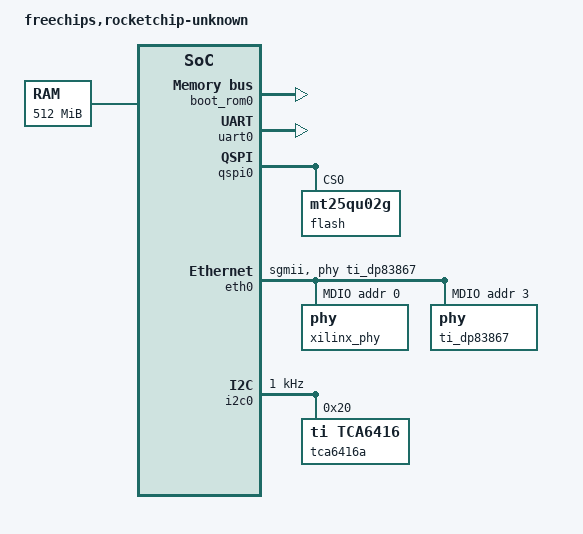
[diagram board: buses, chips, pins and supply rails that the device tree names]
/dts-v1/;

#include <dt-bindings/gpio/gpio.h>

/ {
	#address-cells = <1>;
	#size-cells = <1>;
	compatible = "freechips,rocketchip-unknown-dev";
	model = "freechips,rocketchip-unknown";

	chosen {
		bootargs = "console=ttyS0,115200 earlyprintk";
		stdout-path = "serial0:115200n8";
	};

	aliases {
		serial0 = &uart0;
		spi0 = &qspi0;
		eth0 = &eth0;
		i2c0 = &i2c0;
	};

	cpus {
		#address-cells = <1>;
		#size-cells = <0>;
		cpu0: cpu@0 {
			clock-frequency = <50000000>;
			compatible = "sifive,rocket0", "riscv";
			d-cache-block-size = <64>;
			d-cache-sets = <64>;
			d-cache-size = <16384>;
			d-tlb-sets = <1>;
			d-tlb-size = <32>;
			device_type = "cpu";
			hardware-exec-breakpoint-count = <1>;
			i-cache-block-size = <64>;
			i-cache-sets = <64>;
			i-cache-size = <16384>;
			i-tlb-sets = <1>;
			i-tlb-size = <32>;
			mmu-type = "riscv,sv39";
			next-level-cache = <&ram0>;
			reg = <0x0>;
			riscv,isa = "rv64imafdcZicsr_Zifencei_Zihpm_Zba_Zbb_Zbc_Zbkb_Zbkc_Zbkx_Zbs_Zknd_Zkne_Zknh_Zksed_Zksh_Xrocket";
			riscv,pmpgranularity = <4>;
			riscv,pmpregions = <8>;
			status = "okay";
			timebase-frequency = <1000000>;
			tlb-split;
			cpu0_intc: interrupt-controller {
				#interrupt-cells = <1>;
				compatible = "riscv,cpu-intc";
				interrupt-controller;
			};
		};
		cpu1: cpu@1 {
			clock-frequency = <50000000>;
			compatible = "sifive,rocket0", "riscv";
			d-cache-block-size = <64>;
			d-cache-sets = <64>;
			d-cache-size = <16384>;
			d-tlb-sets = <1>;
			d-tlb-size = <32>;
			device_type = "cpu";
			hardware-exec-breakpoint-count = <1>;
			i-cache-block-size = <64>;
			i-cache-sets = <64>;
			i-cache-size = <16384>;
			i-tlb-sets = <1>;
			i-tlb-size = <32>;
			mmu-type = "riscv,sv39";
			next-level-cache = <&ram0>;
			reg = <0x1>;
			riscv,isa = "rv64imafdcZicsr_Zifencei_Zihpm_Zba_Zbb_Zbc_Zbkb_Zbkc_Zbkx_Zbs_Zknd_Zkne_Zknh_Zksed_Zksh_Xrocket";
			riscv,pmpgranularity = <4>;
			riscv,pmpregions = <8>;
			status = "okay";
			timebase-frequency = <1000000>;
			tlb-split;
			cpu1_intc: interrupt-controller {
				#interrupt-cells = <1>;
				compatible = "riscv,cpu-intc";
				interrupt-controller;
			};
		};
	};
	ram0: memory@80000000 {
		device_type = "memory";
		reg = <0x80000000 0x20000000>;
	};
	soc {
		#address-cells = <1>;
		#size-cells = <1>;
		compatible = "freechips,rocketchip-unknown-soc", "simple-bus";
		ranges;
		clint0: clint@2000000 {
			compatible = "riscv,clint0";
			interrupts-extended = <&cpu0_intc 3 &cpu0_intc 7 &cpu1_intc 3 &cpu1_intc 7>;
			reg = <0x2000000 0x10000>;
			reg-names = "control";
		};
		error0: error-device@3000 {
			compatible = "sifive,error0";
			reg = <0x3000 0x1000>;
		};
		ext_int0: external-interrupts {
			interrupt-parent = <&plic0>;
			interrupts = <1 2 3 4 5 6>;
		};
		plic0: interrupt-controller@c000000 {
			#interrupt-cells = <1>;
			compatible = "riscv,plic0";
			interrupt-controller;
			interrupts-extended = <&cpu0_intc 11 &cpu0_intc 9 &cpu1_intc 11 &cpu1_intc 9>;
			reg = <0xc000000 0x4000000>;
			reg-names = "control";
			riscv,max-priority = <7>;
			riscv,ndev = <6>;
		};
		mmio0: mmio-port-axi4@60000000 {
			#address-cells = <1>;
			#size-cells = <1>;
			compatible = "simple-bus";
			ranges = <0x60000000 0x60000000 0x20000000>;
		};
		boot_rom0: rom@10000 {
			compatible = "sifive,rom0";
			reg = <0x10000 0x10000>;
			reg-names = "mem";
		};
		pbus0: subsystem_pbus_clock {
			#clock-cells = <0>;
			clock-frequency = <100000000>;
			clock-output-names = "subsystem_pbus_clock";
			compatible = "fixed-clock";
		};
		uart0: serial@60200000 {
			compatible = "ns16550a";
			reg = <0x60200000 0x1000>;
			reg-shift = <2>;
			reg-offset = <0x1000>;
			clock-frequency = <100000000>;
			interrupts-extended = <&plic0 0>;
		};
		qspi0: qspi@60100000 {
			compatible = "xlnx,xps-spi-2.00.a";
			reg = <0x60100000 0x1000>;
			fifo-size = <256>;
			#address-cells = <1>;
			#size-cells = <0>;
			interrupts-extended = <&plic0 1>;

			flash@0 {
				compatible = "mt25qu02g", "jedec,spi-nor";
				reg = <0>;
			};
		};
		eth_dma0: eth_dma@60300000 {
			reg = <0x0 0x60300000>;
		};
		eth0: eth0@60400000 {
			compatible = "xlnx,axi-ethernet-1.00.a";
			reg = <0x60400000 0x10000>;
			mac-address = [00 11 22 33 44 55];
			device_type = "network";
			axistream-connected = <&eth_dma0>;
			phy-handle = <&ti_dp83867>;
			phy-mode = "sgmii";

			mdio: mdio {
				#address-cells = <1>;
				#size-cells = <0>;
				reset-gpios = <&tca6416a 6 GPIO_ACTIVE_LOW>;
				reset-delay-us = <2>;

				xilinx_phy: phy@0 {
					#phy-cells = <1>;
					device_type = "ethernet-phy";
					reg = <0>;
				};

				ti_dp83867: phy@3 {
					#phy-cells = <1>;
					device_type = "ethernet-phy";
					reg = <3>;
					ti,sgmii-ref-clock-output-enable;
					ti,dp83867-rxctrl-strap-quirk;
				};
			};
		};
		i2c0: i2c@60500000 {
			compatible = "xlnx,xps-iic-2.00.a";
			reg = <0x60500000 0x10000>;
			#size-cells = <0>;
			#address-cells = <1>;
			clock-frequency = <1000>;

			tca6416a: gpio@20 {
				compatible = "ti,tca6416";
				reg = <0x20>;
				#gpio-cells = <2>;
				gpio-controller;
			};
		};
	};
};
